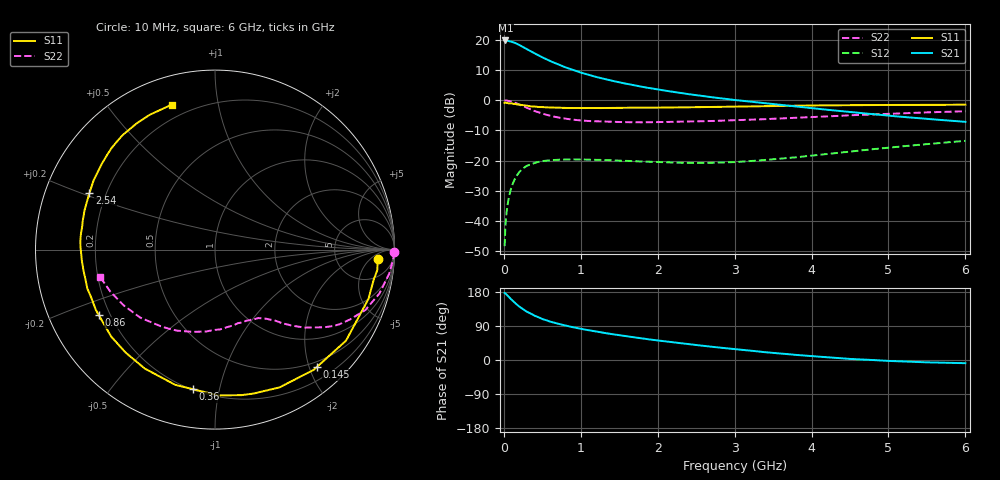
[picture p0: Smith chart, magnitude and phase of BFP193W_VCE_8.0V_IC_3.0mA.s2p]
! Infineon Technologies  Discrete & RF Semiconductors
! BFP193W
! VCE = 8.0 V,  IC =  3.0 mA
! Common Emitter S-Parameters:  Jan 2016
# GHz  S  MA  R  50
!  f  S11  S21  S12  S22
! GHz  MAG  ANG  MAG  ANG  MAG  ANG  MAG  ANG
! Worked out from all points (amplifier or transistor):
!   210 points, 10 MHz to 6 GHz, reference 50 ohm
!   highest |S21| = 19.8 dB at 20 MHz (marker M1)
!   |S21| within 3 dB of that: start of sweep to 307.9 MHz
!   unconditionally stable (mu >= 1): 1.981 GHz to 4.829 GHz
!   at 185 MHz: K = 0.11, MSG = 21.4 dB, |S12| = -24.4 dB
!   at 1.52 GHz: K = 0.77, MSG = 12.9 dB, |S12| = -20.1 dB
!   at 6 GHz: K = 0.93, MSG = 3.2 dB, |S12| = -13.5 dB
!   S11 on the Smith chart (normalised r, x): 10 MHz: 15, -9; 145 MHz: 0.41, -2.13; 360 MHz: 0.20, -0.83; 860 MHz: 0.16, -0.26; 2.54 GHz: 0.14, +0.21; 6 GHz: 0.13, +0.74
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0.01  0.9077 -3.4  9.725 177.0  0.0038 87.3  0.9983 -0.8
0.02  0.9114 -7.2  9.786 175.7  0.0079 85.0  0.9943 -3.3
0.05  0.898 -17.8  9.698 169.4  0.0189 80.5  0.9797 -7.9
0.1  0.8889 -34.8  9.335 159.2  0.0366 70.9  0.9478 -15.0
0.145  0.866 -49.0  8.9 150.6  0.0501 63.3  0.9067 -21.2
0.2  0.8477 -64.9  8.24 141.1  0.0643 55.5  0.8486 -27.2
0.24  0.8304 -74.9  7.752 135.5  0.0721 50.5  0.8071 -31.1
0.3  0.8125 -88.7  7.017 127.3  0.0818 44.1  0.7453 -35.5
0.36  0.7872 -99.1  6.368 121.4  0.0875 38.8  0.6938 -38.7
0.4  0.7855 -106.3  5.98 116.8  0.0916 35.6  0.6608 -41.1
0.5  0.7697 -120.5  5.139 108.2  0.0979 29.7  0.5991 -44.9
0.6  0.7597 -131.0  4.466 101.4  0.101 25.2  0.5517 -47.8
0.7  0.7546 -140.0  3.954 95.8  0.1031 21.9  0.5183 -49.7
0.86  0.7432 -150.7  3.305 88.2  0.1044 17.9  0.4828 -53.1
1.02  0.7396 -159.3  2.825 81.6  0.1039 15.1  0.4596 -56.3
1.4  0.744 -174.5  2.11 68.4  0.1011 11.9  0.4383 -63.9
2.02  0.7543 167.6  1.493 51.1  0.0941 14.2  0.4348 -77.3
2.54  0.7671 155.8  1.194 38.7  0.0912 20.5  0.4467 -89.6
3.1  0.787 144.5  0.978 26.7  0.0959 29.5  0.4699 -103.0
4.1  0.8204 127.4  0.716 8.8  0.1245 40.5  0.5297 -128.1
5.1  0.8344 114.9  0.54 -3.1  0.168 41.7  0.602 -150.8
6  0.843 106.5  0.438 -8.4  0.2119 38.5  0.6575 -166.5
